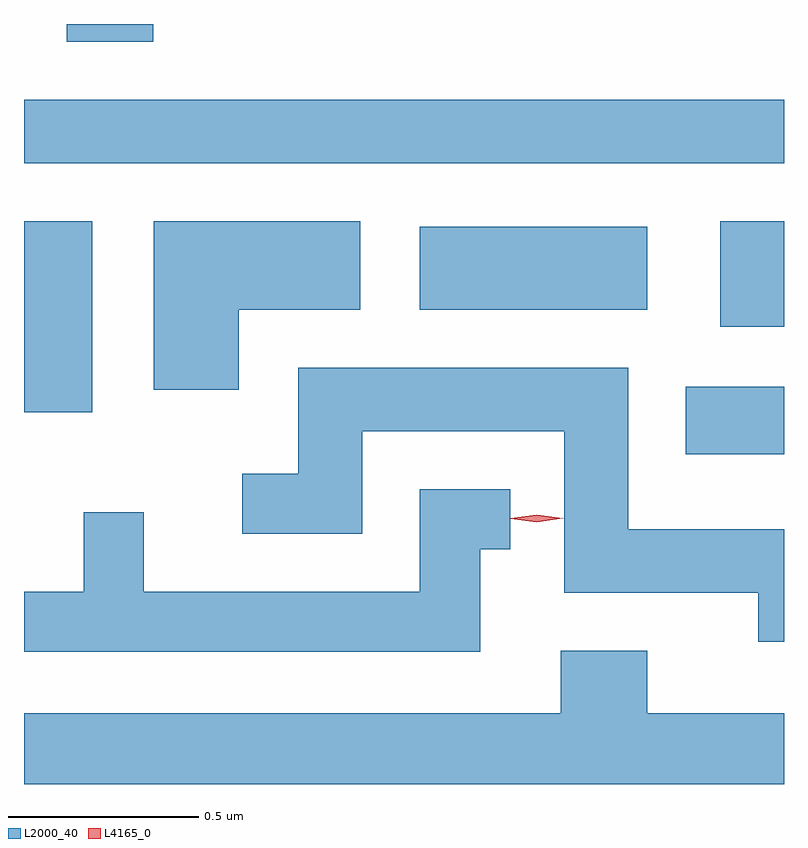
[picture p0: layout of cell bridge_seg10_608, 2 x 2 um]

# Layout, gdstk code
import gdstk
lib = gdstk.Library(unit=1e-6, precision=1e-09)
def R(c, l, rs):  # rectangles x0, y0, x1, y1
    for r in rs: c.add(gdstk.rectangle(r[:2], r[2:], *l))
def P(c, l, *ps):  # polygons
    for p in ps: c.add(gdstk.Polygon(p, *l))
L2000_40 = (2000, 40)
L4165_0 = (4165, 0)

bridge_seg10_608 = lib.new_cell('bridge_seg10_608')
R(bridge_seg10_608, L2000_40, [(648.541,2163.706,648.799,2163.884), (646.799,2163.816,646.979,2164.319), (648.631,2164.041,648.799,2164.319), (647.841,2164.086,648.439,2164.304), (646.799,2164.471,648.799,2164.639), (646.911,2164.791,647.139,2164.838)])
P(bridge_seg10_608, L2000_40, [(647.364,2164.086),(647.684,2164.086),(647.684,2164.319),(647.141,2164.319),(647.141,2163.876),(647.364,2163.876)],
  [(648.799,2163.509),(648.389,2163.509),(648.389,2163.934),(647.521,2163.934),(647.521,2163.654),(647.373,2163.654),(647.373,2163.496),(647.689,2163.496),(647.689,2163.766),(648.221,2163.766),(648.221,2163.341),(648.731,2163.341),(648.731,2163.213),(648.799,2163.213)],
  [(647.999,2163.456),(648.078,2163.456),(648.078,2163.614),(647.841,2163.614),(647.841,2163.344),(647.114,2163.344),(647.114,2163.553),(646.956,2163.553),(646.956,2163.344),(646.799,2163.344),(646.799,2163.186),(647.999,2163.186)],
  [(648.799,2163.024),(648.439,2163.024),(648.439,2163.189),(648.211,2163.189),(648.211,2163.024),(646.799,2163.024),(646.799,2162.838),(648.799,2162.838)])
P(bridge_seg10_608, L4165_0, [(648.148,2163.527),(648.079,2163.536),(648.079,2163.537),(648.079,2163.537),(648.148,2163.547),(648.218,2163.538),(648.218,2163.537),(648.218,2163.537)])

lib.write_gds('bridge_seg10_608.gds')
